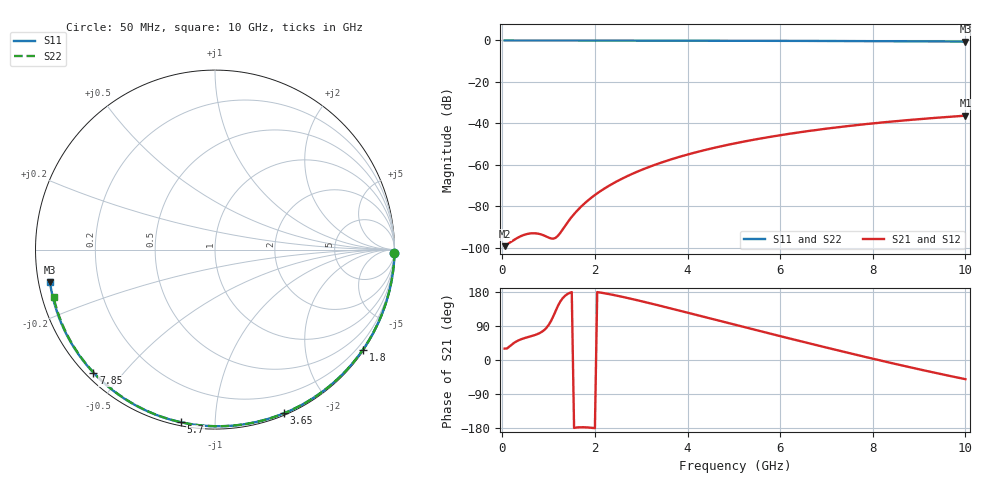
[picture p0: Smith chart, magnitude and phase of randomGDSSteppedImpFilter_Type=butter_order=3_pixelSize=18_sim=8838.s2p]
! freq	dB(S11)	phase(S11)	dB(S12)	phase(S12)
!  dB(S21)	phase(S21)	dB(S22)	phase(S22)
!S-par simulation data
#  GHz  S  DB  R 50
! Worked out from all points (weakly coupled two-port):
!   200 points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, 50 MHz to 10 GHz, reference 50 ohm
!   highest |S21| = -36.28 dB at 10 GHz (marker M1); lowest = -99.3 dB at 50 MHz (marker M2)
!   lowest |S11| = -0.6 dB at 10 GHz (marker M3), VSWR 30.83, Z = 1.64 - j4.85 ohm
!   |S11| at or under -10 dB: nowhere
!   |S22| runs from -0.6 to 0.0 dB; largest |S21 - S12| = 0
!   S11 on the Smith chart (normalised r, x): 50 MHz: open; 1.8 GHz: 0.03, -3.26; 3.65 GHz: 0.02, -1.51; 5.7 GHz: 0.02, -0.82; 7.85 GHz: 0.02, -0.42; 10 GHz: 0.03, -0.10
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0.05  -0.00 -1.0  -99.25 30.2  -99.25 30.2  -0.00 -0.9
0.45  -0.01 -8.7  -93.96 56.6  -93.96 56.6  -0.01 -8.5
0.85  -0.02 -16.3  -93.67 74.1  -93.67 74.1  -0.02 -15.9
1.7  -0.04 -32.2  -80.20 -177.4  -80.20 -177.4  -0.04 -31.5
1.75  -0.04 -33.2  -79.15 -177.4  -79.15 -177.4  -0.04 -32.4
1.8  -0.04 -34.1  -78.14 -177.6  -78.14 -177.6  -0.04 -33.3
2.1  -0.05 -39.6  -72.99 178.3  -72.99 178.3  -0.05 -38.7
2.3  -0.06 -43.3  -70.16 174.0  -70.16 174.0  -0.05 -42.3
2.5  -0.06 -46.9  -67.67 169.1  -67.67 169.1  -0.06 -45.8
2.9  -0.07 -54.1  -63.45 158.2  -63.45 158.2  -0.07 -52.8
3.4  -0.08 -62.9  -59.17 143.4  -59.17 143.4  -0.08 -61.4
3.65  -0.09 -67.2  -57.34 135.7  -57.34 135.7  -0.09 -65.7
4.3  -0.11 -78.2  -53.28 115.5  -53.28 115.5  -0.11 -76.4
5.05  -0.14 -90.6  -49.52 92.2  -49.52 92.2  -0.14 -88.5
5.7  -0.17 -101.1  -46.83 72.1  -46.83 72.1  -0.16 -98.6
6.2  -0.20 -109.0  -45.03 56.9  -45.03 56.9  -0.19 -106.2
6.7  -0.23 -116.8  -43.43 41.8  -43.43 41.8  -0.22 -113.8
7.25  -0.27 -125.3  -41.86 25.3  -41.86 25.3  -0.26 -121.9
7.85  -0.32 -134.6  -40.36 7.8  -40.36 7.8  -0.31 -130.8
8.35  -0.37 -142.4  -39.25 -6.5  -39.25 -6.5  -0.35 -138.2
9.2  -0.46 -155.8  -37.61 -29.9  -37.61 -29.9  -0.45 -150.9
10  -0.56 -168.9  -36.28 -50.6  -36.28 -50.6  -0.56 -163.5
